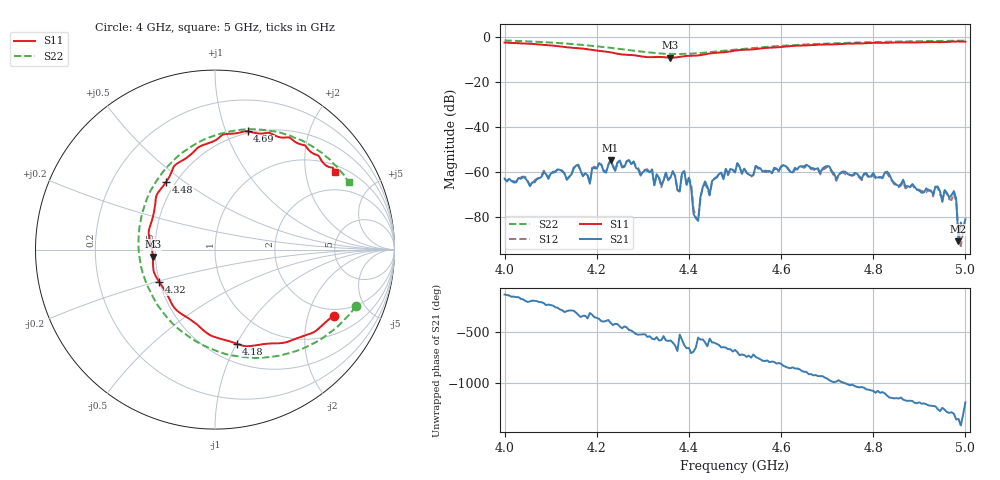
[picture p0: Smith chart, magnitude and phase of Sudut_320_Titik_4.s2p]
# Hz S RI R 50
! CMT, C1220, 16058040, 17.2.0/1
! Date: 15/08/2018 12:34:32
! Data: Format (Calibration Info)
! Freq  S11: Re/Im (F2)  S21: Re/Im (F2)  S12: Re/Im (F2)  S22: Re/Im (F2)
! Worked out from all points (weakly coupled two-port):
!   201 points, 4 GHz to 5 GHz, reference 50 ohm
!   highest |S21| = -54.68 dB at 4.23 GHz (marker M1); lowest = -91.0 dB at 4.985 GHz (marker M2)
!   lowest |S11| = -9.1 dB at 4.36 GHz (marker M3), VSWR 2.07, Z = 24.2 - j2.12 ohm
!   |S11| at or under -10 dB: nowhere
!   |S22| runs from -7.5 to -1.5 dB; largest |S21 - S12| = 0.00013
!   S11 on the Smith chart (normalised r, x): 4 GHz: 1.71, -2.95; 4.18 GHz: 0.68, -1.00; 4.32 GHz: 0.50, -0.21; 4.48 GHz: 0.44, +0.43; 4.69 GHz: 0.48, +1.19; 5 GHz: 1.23, +2.89
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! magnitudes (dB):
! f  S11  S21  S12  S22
! 4 GHz  -2.4  -63.0  -63.1  -1.5
! 4.17 GHz  -5.1  -61.9  -61.8  -3.5
! 4.18 GHz  -5.4  -61.5  -61.4  -3.7
! 4.23 GHz  -6.7  -54.7  -54.6  -4.7
! 4.32 GHz  -8.9  -59.2  -58.8  -6.9
! 4.335 GHz  -8.8  -62.6  -62.4  -7.2
! 4.36 GHz  -9.1  -62.5  -62.4  -7.5
! 4.38 GHz  -8.7  -68.8  -68.4  -7.5
! 4.385 GHz  -8.6  -60.6  -60.4  -7.5
! 4.4 GHz  -8.3  -62.6  -62.6  -7.4
! 4.41 GHz  -8.3  -78.7  -76.6  -7.3
! 4.42 GHz  -8.2  -81.7  -81.9  -7.1
! 4.435 GHz  -7.6  -64.2  -65.4  -6.9
! 4.445 GHz  -7.3  -70.1  -70.5  -6.7
! 4.48 GHz  -6.6  -58.6  -58.9  -6.0
! 4.5 GHz  -6.0  -60.2  -60.2  -5.6
! 4.67 GHz  -3.5  -58.4  -58.8  -3.1
! 4.69 GHz  -3.3  -58.5  -59.0  -2.9
! 4.835 GHz  -2.5  -61.1  -62.2  -2.0
! 4.975 GHz  -2.0  -68.6  -69.5  -1.6
! 4.985 GHz  -1.9  -91.0  -86.4  -1.6
! 5 GHz  -2.0  -81.1  -84.2  -1.6
